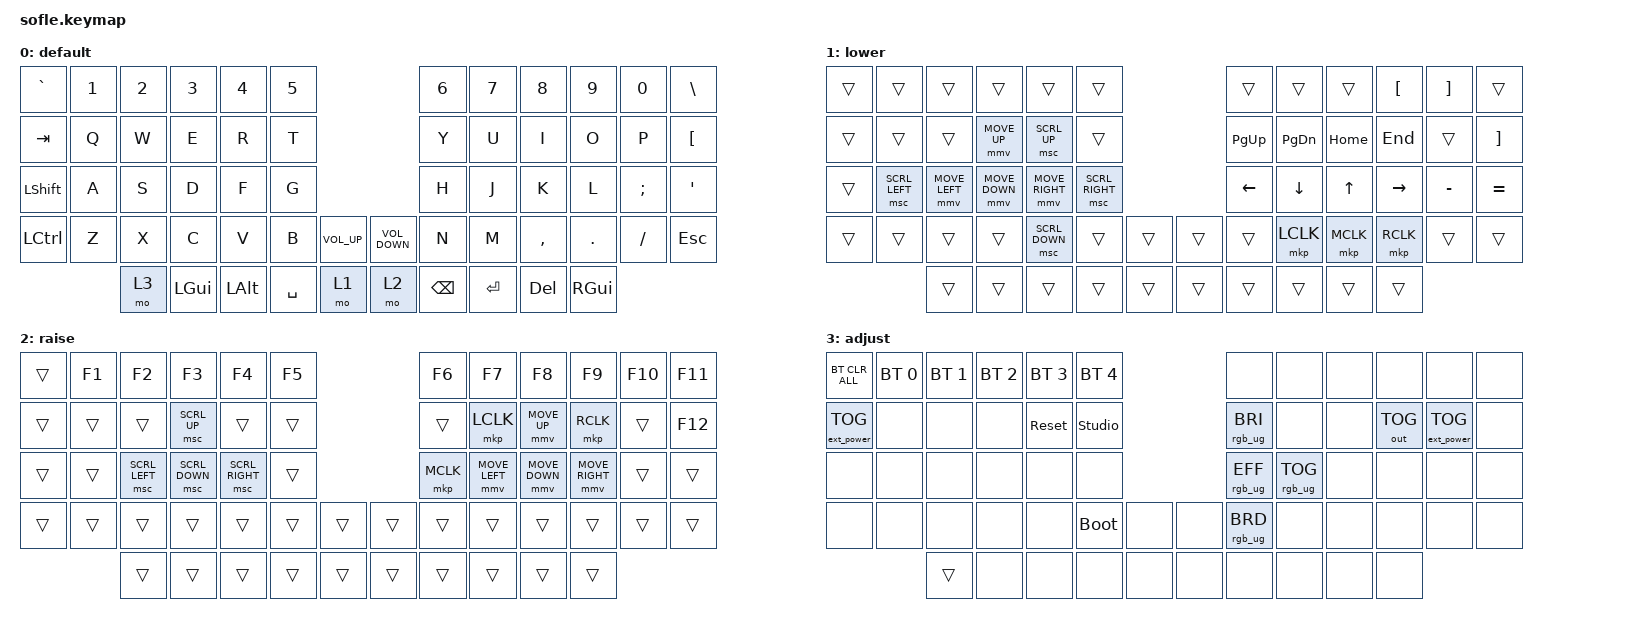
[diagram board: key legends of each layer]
/*
 * Copyright (c) 2020 The ZMK Contributors
 *
 * SPDX-License-Identifier: MIT
 */

#include <behaviors.dtsi>
#include <dt-bindings/zmk/bt.h>
#include <dt-bindings/zmk/ext_power.h>
#include <dt-bindings/zmk/keys.h>
#include <dt-bindings/zmk/outputs.h>
#include <dt-bindings/zmk/pointing.h>
#include <dt-bindings/zmk/rgb.h>

#define BASE 0
#define LOWER 1
#define RAISE 2
#define ADJUST 3
#define extra_layer 4

/ {
    // Activate ADJUST layer by pressing raise and lower

    conditional_layers { compatible = "zmk,conditional-layers"; };

    combos { compatible = "zmk,combos"; };

    behaviors {
        caps: caps {
            compatible = "zmk,behavior-caps-word";
            label = "CAPS";
            #binding-cells = <0>;
            continue-list = <POUND MINUS BACKSPACE UNDERSCORE>;
        };
    };

    keymap {
        compatible = "zmk,keymap";

        default_layer {
            display-name = "default";

            // ------------------------------------------------------------------------------------------------------------
            // |   `   |  1  |  2  |  3   |  4   |  5   |                   |  6   |  7    |  8    |  9   |   0   |       |
            // |  ESC  |  Q  |  W  |  E   |  R   |  T   |                   |  Y   |  U    |  I    |  O   |   P   | BKSPC |
            // |  TAB  |  A  |  S  |  D   |  F   |  G   |                   |  H   |  J    |  K    |  L   |   ;   |   '   |
            // | SHIFT |  Z  |  X  |  C   |  V   |  B   |  MUTE  |  |       |  N   |  M    |  ,    |  .   |   /   | SHIFT |
            //               | GUI | ALT  | CTRL | LOWER|  ENTER |  | SPACE | RAISE| CTRL  | ALT   | GUI  |

            bindings = <
&kp GRAVE         &kp N1  &kp N2  &kp N3        &kp N4        &kp N5                                           &kp N6         &kp N7   &kp N8      &kp N9    &kp N0    &kp BACKSLASH
&kp TAB           &kp Q   &kp W   &kp E         &kp R         &kp T                                            &kp Y          &kp U    &kp I       &kp O     &kp P     &kp LEFT_BRACKET
&kp LEFT_SHIFT    &kp A   &kp S   &kp D         &kp F         &kp G                                            &kp H          &kp J    &kp K       &kp L     &kp SEMI  &kp SQT
&kp LEFT_CONTROL  &kp Z   &kp X   &kp C         &kp V         &kp B      &kp C_VOLUME_UP    &kp C_VOLUME_DOWN  &kp N          &kp M    &kp COMMA   &kp DOT   &kp FSLH  &kp ESC
                          &mo 3   &kp LEFT_GUI  &kp LEFT_ALT  &kp SPACE  &mo 1              &mo 2              &kp BACKSPACE  &kp RET  &kp DELETE  &kp RGUI
            >;
        };

        lower_layer {
            display-name = "lower";

            // TODO: Some binds are waiting for shifted keycode support.
            // ------------------------------------------------------------------------------------------------------------
            // |       |  F1 |  F2 |  F3  |  F4  |  F5  |                   |  F6  |  F7   |  F8   |  F9  |  F10  |  F11  |
            // |   `   |  1  |  2  |  3   |  4   |  5   |                   |  6   |  7    |  8    |  9   |   0   |  F12  |
            // |       |  !  |  @  |  #   |  $   |  %   |                   |  ^   |  &    |  *    |  (   |   )   |   |   |
            // |       |  =  |  -  |  +   |  {   |  }   |        |  |       |  [   |  ]    |  ;    |  :   |   \   |       |
            //               |     |      |      |      |        |  |       |      |       |       |      |

            bindings = <
&trans  &trans          &trans          &trans          &trans           &trans                             &trans       &trans         &trans     &kp LEFT_BRACKET  &kp RIGHT_BRACKET  &trans
&trans  &trans          &trans          &mmv MOVE_UP    &msc SCRL_UP     &trans                             &kp PAGE_UP  &kp PAGE_DOWN  &kp HOME   &kp END           &trans             &kp RIGHT_BRACKET
&trans  &msc SCRL_LEFT  &mmv MOVE_LEFT  &mmv MOVE_DOWN  &mmv MOVE_RIGHT  &msc SCRL_RIGHT                    &kp LEFT     &kp DOWN       &kp UP     &kp RIGHT         &kp MINUS          &kp EQUAL
&trans  &trans          &trans          &trans          &msc SCRL_DOWN   &trans           &trans    &trans  &trans       &mkp LCLK      &mkp MCLK  &mkp RCLK         &trans             &trans
                        &trans          &trans          &trans           &trans           &trans    &trans  &trans       &trans         &trans     &trans
            >;
        };

        raise_layer {
            display-name = "raise";

            // ------------------------------------------------------------------------------------------------------------
            // | BTCLR | BT1  | BT2  |  BT3  |  BT4  |  BT5 |                |      |      |       |      |       |       |
            // |       | INS  | PSCR | GUI   |       |      |                | PGUP |      |   ^   |      |       |       |
            // |       | ALT  | CTRL | SHIFT |       | CAPS |                | PGDN |   <- |   v   |  ->  |  DEL  | BKSPC |
            // |       | UNDO | CUT  | COPY  | PASTE |      |      |  |      |      |      |       |      |       |       |
            //                |      |       |       |      |      |  |      |      |      |       |      |

            bindings = <
&trans  &kp F1  &kp F2          &kp F3          &kp F4           &kp F5                    &kp F6     &kp F7          &kp F8          &kp F9           &kp F10  &kp F11
&trans  &trans  &trans          &msc SCRL_UP    &trans           &trans                    &trans     &mkp LCLK       &mmv MOVE_UP    &mkp RCLK        &trans   &kp F12
&trans  &trans  &msc SCRL_LEFT  &msc SCRL_DOWN  &msc SCRL_RIGHT  &trans                    &mkp MCLK  &mmv MOVE_LEFT  &mmv MOVE_DOWN  &mmv MOVE_RIGHT  &trans   &trans
&trans  &trans  &trans          &trans          &trans           &trans  &trans    &trans  &trans     &trans          &trans          &trans           &trans   &trans
                &trans          &trans          &trans           &trans  &trans    &trans  &trans     &trans          &trans          &trans
            >;
        };

        adjust_layer {
            // ----------------------------------------------------------------------------------------------------------------------------
            // | BTCLR  |  BT1    |  BT2    |   BT3   |   BT4   |   BT5   |                  |      |      |       |      |       |       |
            // | EXTPWR | RGB_HUD | RGB_HUI | RGB_SAD | RGB_SAI | RGB_EFF |                  |      |      |       |      |       |       |
            // |        | RGB_BRD | RGB_BRI |         |         |         |                  |      |      |       |      |       |       |
            // |        |         |         |         |         |         | RGB_TOG | |      |      |      |       |      |       |       |
            //                    |         |         |         |         |         | |      |      |      |       |      |

            display-name = "adjust";
            bindings = <
&bt BT_CLR_ALL     &bt BT_SEL 0  &bt BT_SEL 1  &bt BT_SEL 2  &bt BT_SEL 3  &bt BT_SEL 4                    &none            &none            &none  &none         &none              &none
&ext_power EP_TOG  &none         &none         &none         &sys_reset    &studio_unlock                  &rgb_ug RGB_BRI  &none            &none  &out OUT_TOG  &ext_power EP_TOG  &none
&none              &none         &none         &none         &none         &none                           &rgb_ug RGB_EFF  &rgb_ug RGB_TOG  &none  &none         &none              &none
&none              &none         &none         &none         &none         &bootloader     &none    &none  &rgb_ug RGB_BRD  &none            &none  &none         &none              &none
                                 &trans        &none         &none         &none           &none    &none  &none            &none            &none  &none
            >;
        };
    };
};
